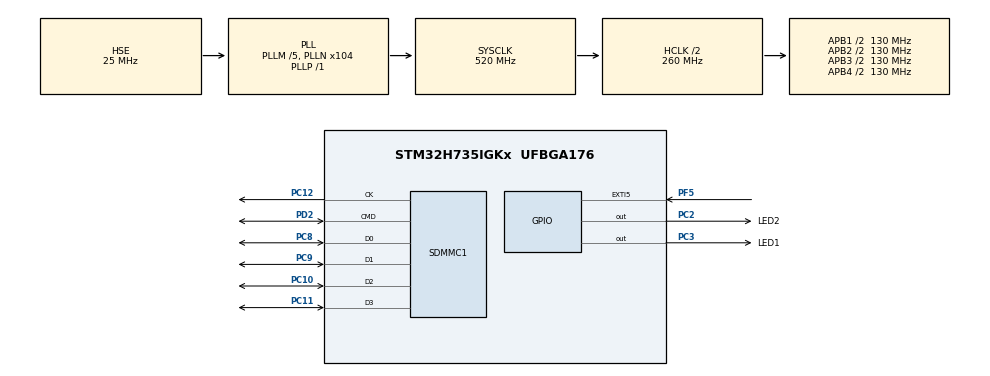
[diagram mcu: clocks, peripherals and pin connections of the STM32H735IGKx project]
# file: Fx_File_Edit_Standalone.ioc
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CORTEX_M7.CPU_DCache=Enabled
CORTEX_M7.CPU_ICache=Enabled
CORTEX_M7.default_mode_Activation=1
LIBJPEG.LIBJPEG_FS_type=NoFS
Mcu.Family=STM32H7
Mcu.Name=STM32H735IGKx
Mcu.Package=UFBGA176
NVIC.EXTI9_5_IRQn=true\:14\:0\:true\:false\:true\:true\:true\:true
NVIC.PriorityGroup=NVIC_PRIORITYGROUP_4
NVIC.SDMMC1_IRQn=true\:7\:0\:true\:false\:true\:true\:true\:true
PC10.Mode=SD_4_bits_Wide_bus
PC10.Signal=SDMMC1_D2
PC11.Mode=SD_4_bits_Wide_bus
PC11.Signal=SDMMC1_D3
PC12.Mode=SD_4_bits_Wide_bus
PC12.Signal=SDMMC1_CK
PC2.GPIO_Label=LED2
PC2.GPIO_Speed=GPIO_SPEED_FREQ_HIGH
PC2.PinState=GPIO_PIN_SET
PC2.Signal=GPIO_Output
PC3.GPIO_Label=LED1
PC3.GPIO_Speed=GPIO_SPEED_FREQ_HIGH
PC3.PinState=GPIO_PIN_SET
PC3.Signal=GPIO_Output
PC8.Mode=SD_4_bits_Wide_bus
PC8.Signal=SDMMC1_D0
PC9.Mode=SD_4_bits_Wide_bus
PC9.Signal=SDMMC1_D1
PD2.Mode=SD_4_bits_Wide_bus
PD2.Signal=SDMMC1_CMD
PF5.GPIO_ModeDefaultEXTI=GPIO_MODE_IT_RISING_FALLING
PF5.GPIO_PuPd=GPIO_PULLUP
PF5.Signal=GPXTI5
PH0-OSC_IN.Mode=HSE-External-Oscillator
PH0-OSC_IN.Signal=RCC_OSC_IN
PH1-OSC_OUT.Mode=HSE-External-Oscillator
PH1-OSC_OUT.Signal=RCC_OSC_OUT
ProjectManager.HeapSize=0x200
ProjectManager.StackSize=0x400
ProjectManager.TargetToolchain=STM32CubeIDE
RCC.ADCFreq_Value=80000000
RCC.APB1Freq_Value=130000000
RCC.APB2Freq_Value=130000000
RCC.APB3Freq_Value=130000000
RCC.APB4Freq_Value=130000000
RCC.CortexFreq_Value=520000000
RCC.D1PPRE=RCC_APB3_DIV2
RCC.D2PPRE1=RCC_APB1_DIV2
RCC.D2PPRE2=RCC_APB2_DIV2
RCC.D3PPRE=RCC_APB4_DIV2
RCC.DIVM1=5
RCC.DIVM2=5
RCC.DIVN1=104
RCC.DIVN2=80
RCC.DIVP1=1
RCC.DIVP2=5
RCC.DIVQ1=4
RCC.HCLKFreq_Value=260000000
RCC.HPRE=RCC_HCLK_DIV2
RCC.PLL2FRACN=0
RCC.PLL3FRACN=0
RCC.PLLFRACN=0
RCC.PLLSourceVirtual=RCC_PLLSOURCE_HSE
RCC.SYSCLKFreq_VALUE=520000000
RCC.SYSCLKSource=RCC_SYSCLKSOURCE_PLLCLK
RCC.USBCLockSelection=RCC_USBCLKSOURCE_HSI48
RCC.USBFreq_Value=48000000
STMicroelectronics.X-CUBE-AZRTOS-H7.3.0.0.FX_MMC_GLUE_FUNCTION_IMPLEMENTATION=Custom
STMicroelectronics.X-CUBE-AZRTOS-H7.3.0.0.FX_MMC_TRANSFER_CMPLT_NOTIF=Custom
STMicroelectronics.X-CUBE-AZRTOS-H7.3.0.0.FileXCcFileOoSystemJjFileXJjCore=true
STMicroelectronics.X-CUBE-AZRTOS-H7.3.0.0.InterfacesCcFileOoSystemJjFileXOoSDOointerface=true
STMicroelectronics.X-CUBE-AZRTOS-H7.3.0.0.TX_APP_GENERATE_INIT_CODE=true
STMicroelectronics.X-CUBE-AZRTOS-H7.3.0.0_IsAnAzureRtosMw=true
VP_LIBJPEG_VS_JPEGLIB.Mode=Enabled
VP_STMicroelectronics.X-CUBE-AZRTOS-H7_VS_FileOoSystemJjFileX_6.1.12_3.0.0.Mode=FileOoSystemJjFileX
VP_STMicroelectronics.X-CUBE-AZRTOS-H7_VS_FileOoSystemJjInterfaces_2.1.0_3.0.0.Mode=FileOoSystemJjInterfaces
board=STM32H735G-DK

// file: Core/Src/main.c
/* USER CODE BEGIN Header */
/**
  ******************************************************************************
  * @file           : main.c
  * @brief          : Main program body
  ******************************************************************************
  * @attention
  *
  * Copyright (c) 2022 STMicroelectronics.
  * All rights reserved.
  *
  * This software is licensed under terms that can be found in the LICENSE file
  * in the root directory of this software component.
  * If no LICENSE file comes with this software, it is provided AS-IS.
  *
  ******************************************************************************
  */
/* USER CODE END Header */
#include "main.h"
#include "libjpeg.h"
#include "stm32_lcd.h"

SD_HandleTypeDef hsd1;

void SystemClock_Config(void);
static void MPU_Config(void);
static void MX_GPIO_Init(void);
static void MX_SDMMC1_SD_Init(void);
/* USER CODE BEGIN PFP */
static void LCD_Config(void);
/* USER CODE END PFP */

int main(void)
{

  /* MPU Configuration--------------------------------------------------------*/
  MPU_Config();

  /* Enable I-Cache---------------------------------------------------------*/
  SCB_EnableICache();

  /* Enable D-Cache---------------------------------------------------------*/
  SCB_EnableDCache();

  /* MCU Configuration--------------------------------------------------------*/

  /* Reset of all peripherals, Initializes the Flash interface and the Systick. */
  HAL_Init();

  /* Configure the system clock */
  SystemClock_Config();

  /* USER CODE BEGIN SysInit */
  BSP_LED_Init(LED1);
  BSP_LED_Init(LED2);

  /* USER CODE END SysInit */

  /* Initialize all configured peripherals */
  MX_GPIO_Init();
  MX_SDMMC1_SD_Init();
  MX_LIBJPEG_Init();
  /* USER CODE BEGIN 2 */
  LCD_Config();

  if(MX_FileX_Init() != FX_SUCCESS)
  {
    Error_Handler();
  }

  MX_FileX_Process();
  /* USER CODE END 2 */

  /* Infinite loop */
  while (1)
  {

  }
}

void SystemClock_Config(void)
{
  RCC_OscInitTypeDef RCC_OscInitStruct = {0};
  RCC_ClkInitTypeDef RCC_ClkInitStruct = {0};

  /** Supply configuration update enable
  */
  HAL_PWREx_ConfigSupply(PWR_DIRECT_SMPS_SUPPLY);

  /** Configure the main internal regulator output voltage
  */
  __HAL_PWR_VOLTAGESCALING_CONFIG(PWR_REGULATOR_VOLTAGE_SCALE0);

  while(!__HAL_PWR_GET_FLAG(PWR_FLAG_VOSRDY)) {}

  /** Initializes the RCC Oscillators according to the specified parameters
  * in the RCC_OscInitTypeDef structure.
  */
  RCC_OscInitStruct.OscillatorType = RCC_OSCILLATORTYPE_HSE;
  RCC_OscInitStruct.HSEState = RCC_HSE_ON;
  RCC_OscInitStruct.PLL.PLLState = RCC_PLL_ON;
  RCC_OscInitStruct.PLL.PLLSource = RCC_PLLSOURCE_HSE;
  RCC_OscInitStruct.PLL.PLLM = 5;
  RCC_OscInitStruct.PLL.PLLN = 104;
  RCC_OscInitStruct.PLL.PLLP = 1;
  RCC_OscInitStruct.PLL.PLLQ = 4;
  RCC_OscInitStruct.PLL.PLLR = 2;
  RCC_OscInitStruct.PLL.PLLRGE = RCC_PLL1VCIRANGE_2;
  RCC_OscInitStruct.PLL.PLLVCOSEL = RCC_PLL1VCOWIDE;
  RCC_OscInitStruct.PLL.PLLFRACN = 0;
  if (HAL_RCC_OscConfig(&RCC_OscInitStruct) != HAL_OK)
  {
    Error_Handler();
  }

  /** Initializes the CPU, AHB and APB buses clocks
  */
  RCC_ClkInitStruct.ClockType = RCC_CLOCKTYPE_HCLK|RCC_CLOCKTYPE_SYSCLK
                              |RCC_CLOCKTYPE_PCLK1|RCC_CLOCKTYPE_PCLK2
                              |RCC_CLOCKTYPE_D3PCLK1|RCC_CLOCKTYPE_D1PCLK1;
  RCC_ClkInitStruct.SYSCLKSource = RCC_SYSCLKSOURCE_PLLCLK;
  RCC_ClkInitStruct.SYSCLKDivider = RCC_SYSCLK_DIV1;
  RCC_ClkInitStruct.AHBCLKDivider = RCC_HCLK_DIV2;
  RCC_ClkInitStruct.APB3CLKDivider = RCC_APB3_DIV2;
  RCC_ClkInitStruct.APB1CLKDivider = RCC_APB1_DIV2;
  RCC_ClkInitStruct.APB2CLKDivider = RCC_APB2_DIV2;
  RCC_ClkInitStruct.APB4CLKDivider = RCC_APB4_DIV2;

  if (HAL_RCC_ClockConfig(&RCC_ClkInitStruct, FLASH_LATENCY_3) != HAL_OK)
  {
    Error_Handler();
  }
}

static void MX_SDMMC1_SD_Init(void)
{

  hsd1.Instance = SDMMC1;
  hsd1.Init.ClockEdge = SDMMC_CLOCK_EDGE_RISING;
  hsd1.Init.ClockPowerSave = SDMMC_CLOCK_POWER_SAVE_DISABLE;
  hsd1.Init.BusWide = SDMMC_BUS_WIDE_4B;
  hsd1.Init.HardwareFlowControl = SDMMC_HARDWARE_FLOW_CONTROL_DISABLE;
  hsd1.Init.ClockDiv = 0;
  if (HAL_SD_Init(&hsd1) != HAL_OK)
  {
    Error_Handler();
  }

}

static void MX_GPIO_Init(void)
{
  GPIO_InitTypeDef GPIO_InitStruct = {0};

  /* GPIO Ports Clock Enable */
  __HAL_RCC_GPIOD_CLK_ENABLE();
  __HAL_RCC_GPIOC_CLK_ENABLE();
  __HAL_RCC_GPIOF_CLK_ENABLE();
  __HAL_RCC_GPIOH_CLK_ENABLE();

  /*Configure GPIO pin Output Level */
  HAL_GPIO_WritePin(GPIOC, LED2_Pin|LED1_Pin, GPIO_PIN_SET);

  /*Configure GPIO pin : PF5 */
  GPIO_InitStruct.Pin = GPIO_PIN_5;
  GPIO_InitStruct.Mode = GPIO_MODE_IT_RISING_FALLING;
  GPIO_InitStruct.Pull = GPIO_PULLUP;
  HAL_GPIO_Init(GPIOF, &GPIO_InitStruct);

  /*Configure GPIO pins : LED2_Pin LED1_Pin */
  GPIO_InitStruct.Pin = LED2_Pin|LED1_Pin;
  GPIO_InitStruct.Mode = GPIO_MODE_OUTPUT_PP;
  GPIO_InitStruct.Pull = GPIO_NOPULL;
  GPIO_InitStruct.Speed = GPIO_SPEED_FREQ_HIGH;
  HAL_GPIO_Init(GPIOC, &GPIO_InitStruct);

  /* EXTI interrupt init*/
  HAL_NVIC_SetPriority(EXTI9_5_IRQn, 14, 0);
  HAL_NVIC_EnableIRQ(EXTI9_5_IRQn);

}

/* USER CODE BEGIN 4 */
/**
  * @brief  LCD Configuration.
  * @Param  None
  * @retval None
  */
static void LCD_Config(void)
{
  /* Initialize the LCD */
  BSP_LCD_Init(0, LCD_ORIENTATION_LANDSCAPE);

  /* Set Display window */
  BSP_LCD_SetLayerWindow(0, 0, 0, 0, IMAGE_WIDTH, IMAGE_HEIGHT);

  UTIL_LCD_SetFuncDriver(&LCD_Driver);

  /* Clear the LCD Background layer */
  UTIL_LCD_Clear(UTIL_LCD_COLOR_BLACK);
}

/* USER CODE END 4 */

/* MPU Configuration */

void MPU_Config(void)
{
  MPU_Region_InitTypeDef MPU_InitStruct = {0};

  /* Disables the MPU */
  HAL_MPU_Disable();

  /** Initializes and configures the Region and the memory to be protected
  */
  MPU_InitStruct.Enable = MPU_REGION_ENABLE;
  MPU_InitStruct.Number = MPU_REGION_NUMBER0;
  MPU_InitStruct.BaseAddress = 0x0;
  MPU_InitStruct.Size = MPU_REGION_SIZE_4GB;
  MPU_InitStruct.SubRegionDisable = 0x87;
  MPU_InitStruct.TypeExtField = MPU_TEX_LEVEL0;
  MPU_InitStruct.AccessPermission = MPU_REGION_NO_ACCESS;
  MPU_InitStruct.DisableExec = MPU_INSTRUCTION_ACCESS_DISABLE;
  MPU_InitStruct.IsShareable = MPU_ACCESS_SHAREABLE;
  MPU_InitStruct.IsCacheable = MPU_ACCESS_NOT_CACHEABLE;
  MPU_InitStruct.IsBufferable = MPU_ACCESS_NOT_BUFFERABLE;

  HAL_MPU_ConfigRegion(&MPU_InitStruct);
  /* Enables the MPU */
  HAL_MPU_Enable(MPU_PRIVILEGED_DEFAULT);

}

void Error_Handler(void)
{
  /* USER CODE BEGIN Error_Handler_Debug */
  /* User can add his own implementation to report the HAL error return state */
  HAL_GPIO_WritePin(LED1_GPIO_Port, LED1_Pin, GPIO_PIN_SET);
  while (1)
  {
    HAL_GPIO_TogglePin(LED2_GPIO_Port, LED2_Pin);
    HAL_Delay(200);
  }
  /* USER CODE END Error_Handler_Debug */
}
